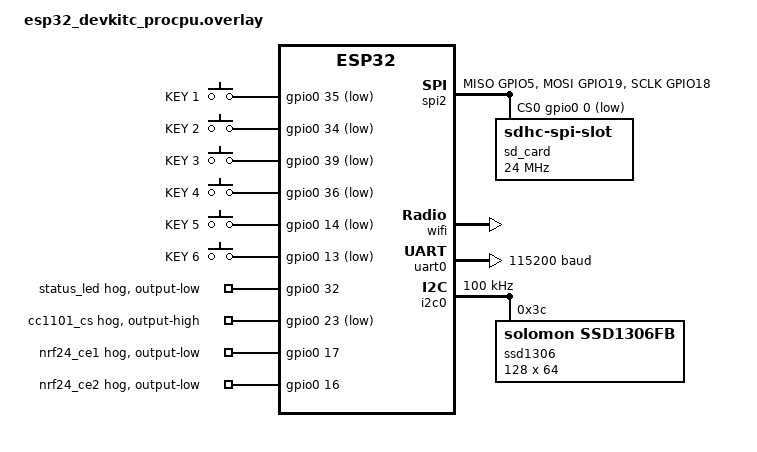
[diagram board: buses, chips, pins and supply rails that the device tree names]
// Include required headers
#include <zephyr/dt-bindings/gpio/gpio.h>
#include <zephyr/dt-bindings/spi/spi.h>

// Configure SPI pins for Akira-Micro
// Based on HARDWARE.md: IO5=MISO, IO18=SCK, IO19=MOSI
&pinctrl
{
spim2_default:
    spim2_default
    {
        group1
        {
            pinmux = <SPIM2_MISO_GPIO5>,  // MISO - GPIO5
                <SPIM2_MOSI_GPIO19>,      // MOSI - GPIO19
                <SPIM2_SCLK_GPIO18>;      // SCK  - GPIO18
        };
    };
};

&spi2 {
    status = "okay";
    pinctrl-0 = <&spim2_default>;
    pinctrl-names = "default";
    // CS for SD Card on GPIO0
    cs-gpios = <&gpio0 0 GPIO_ACTIVE_LOW>;
    
    // SD Card on SPI
    sd_card: sdhc@0 {
        compatible = "zephyr,sdhc-spi-slot";
        reg = <0>;
        status = "okay";
        spi-max-frequency = <24000000>;
        mmc {
            compatible = "zephyr,sdmmc-disk";
            status = "okay";
            disk-name = "SD";
        };
    };
};

&gpio0 {
    status = "okay";
    
    // Akira-Micro Status LED (Blue) - GPIO32
    status_led: status_led {
        gpio-hog;
        gpios = <32 GPIO_ACTIVE_HIGH>;
        output-low;
    };
    
    // CC1101 CS - GPIO23
    cc1101_cs: cc1101_cs {
        gpio-hog;
        gpios = <23 GPIO_ACTIVE_LOW>;
        output-high;
    };
    
    // nRF24L01 Chip Enable pins
    nrf24_ce1: nrf24_ce1 {
        gpio-hog;
        gpios = <17 GPIO_ACTIVE_HIGH>;  // CE_1 (U9)
        output-low;
    };
    
    nrf24_ce2: nrf24_ce2 {
        gpio-hog;
        gpios = <16 GPIO_ACTIVE_HIGH>;  // CE_2 (U1)
        output-low;
    };
};

// WiFi configuration
&wifi
{
    status = "okay";
    // WiFi credentials will be managed by settings module
};

// UART configuration for shell and logging
&uart0 {
    status = "okay";
    current-speed = <115200>;
};

// I2C configuration for OLED (SSD1306)
// GPIO21 = SDA, GPIO22 = SCL
&i2c0 {
    status = "okay";
    clock-frequency = <I2C_BITRATE_STANDARD>;
    
    ssd1306: ssd1306@3c {
        compatible = "solomon,ssd1306fb";
        reg = <0x3c>;
        width = <128>;
        height = <64>;
        segment-offset = <0>;
        page-offset = <0>;
        display-offset = <0>;
        multiplex-ratio = <63>;
        prechargep = <0x22>;
    };
};

// Chosen nodes for Zephyr configuration
/ {
    chosen {
        zephyr,console = &uart0;
        zephyr,shell-uart = &uart0;
    };
    
    aliases {
        user-data-partition = &storage_partition;
        led0 = &status_led;
        spi-flash0 = &sd_card;
    };
    
    // Button definitions for Akira-Micro
    gpio_keys {
        compatible = "gpio-keys";
        
        key1: key_1 {
            gpios = <&gpio0 35 (GPIO_PULL_UP | GPIO_ACTIVE_LOW)>;
            label = "KEY 1";
            zephyr,code = <1>;
        };
        
        key2: key_2 {
            gpios = <&gpio0 34 (GPIO_PULL_UP | GPIO_ACTIVE_LOW)>;
            label = "KEY 2";
            zephyr,code = <2>;
        };
        
        key3: key_3 {
            gpios = <&gpio0 39 (GPIO_PULL_UP | GPIO_ACTIVE_LOW)>;
            label = "KEY 3";
            zephyr,code = <3>;
        };
        
        key4: key_4 {
            gpios = <&gpio0 36 (GPIO_PULL_UP | GPIO_ACTIVE_LOW)>;
            label = "KEY 4";
            zephyr,code = <4>;
        };
        
        key5: key_5 {
            gpios = <&gpio0 14 (GPIO_PULL_UP | GPIO_ACTIVE_LOW)>;
            label = "KEY 5";
            zephyr,code = <5>;
        };
        
        key6: key_6 {
            gpios = <&gpio0 13 (GPIO_PULL_UP | GPIO_ACTIVE_LOW)>;
            label = "KEY 6";
            zephyr,code = <6>;
        };
    };
};

// Change storage partition label to user-data-partition for LittleFS
user_data_partition: &storage_partition {
    label = "user_data_partition";
};
